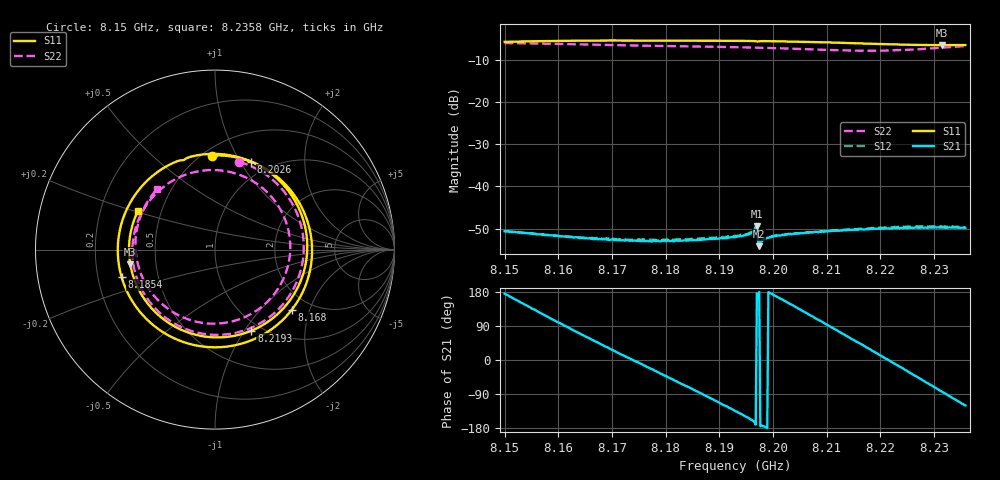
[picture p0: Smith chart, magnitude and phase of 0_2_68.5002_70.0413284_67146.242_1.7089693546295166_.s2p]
#  HZ  S  RI  R  50.00
! Rohde & Schwarz Vector Network Analyzer
! Rohde-Schwarz,ZNB20-2Port,1311601062101988,3.16
! Created: UTC 3/20/2024, 5:03:43 PM
! freq[Hz]  re:S11  im:S11  re:S21  im:S21  re:S12  im:S12  re:S22  im:S22
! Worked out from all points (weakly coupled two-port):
!   401 points, 8.15 GHz to 8.2358 GHz, reference 50 ohm
!   highest |S21| = -49.42 dB at 8.197 GHz (marker M1); lowest = -54.2 dB at 8.1974 GHz (marker M2)
!   lowest |S11| = -6.4 dB at 8.2315 GHz (marker M3), VSWR 2.84, Z = 17.7 - j3.72 ohm
!   |S11| at or under -10 dB: nowhere
!   |S22| runs from -7.7 to -5.9 dB; largest |S21 - S12| = 0.00027
!   S11 on the Smith chart (normalised r, x): 8.15 GHz: 0.56, +0.80; 8.168 GHz: 1.61, -1.53; 8.1854 GHz: 0.30, -0.13; 8.2026 GHz: 0.82, +1.11; 8.2193 GHz: 0.90, -1.08; 8.2358 GHz: 0.37, +0.21
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8.149982e9  -0.0161 0.5237  -0.00293 0.000254  -0.00293 0.000293  0.1357 0.4888
8.153631e9  0.2247 0.4802  -0.00235 0.00153  -0.00234 0.00155  0.3356 0.3756
8.157494e9  0.4277 0.3225  -0.00124 0.00234  -0.00126 0.00233  0.4664 0.1768
8.160928e9  0.5268 0.1163  -9.48e-05 0.00254  -0.000141 0.00257  0.4929 -0.0296
8.164362e9  0.5301 -0.1127  0.000968 0.00225  0.000931 0.00228  0.4337 -0.2249
8.168011e9  0.4285 -0.3343  0.0018 0.00156  0.00179 0.00161  0.292 -0.3844
8.173591e9  0.1145 -0.5322  0.00228 7.47e-05  0.00234 6.32e-05  -0.0116 -0.4747
8.178742e9  -0.2304 -0.4928  0.00186 -0.00122  0.00194 -0.00129  -0.2815 -0.3746
8.185395e9  -0.5207 -0.1522  0.000401 -0.00226  0.000401 -0.00237  -0.4581 -0.058
8.189044e9  -0.5319 0.1  -0.000658 -0.0023  -0.00071 -0.00234  -0.4353 0.1422
8.192907e9  -0.4168 0.3423  -0.00174 -0.00178  -0.00186 -0.00181  -0.3196 0.3212
8.196556e9  -0.2092 0.4928  -0.00293 -0.000821  -0.00303 -0.000708  -0.1445 0.4237
8.196985e9  -0.1785 0.4982  -0.00337 0.000241  -0.00341 0.000374  -0.1212 0.43
8.197415e9  -0.1589 0.5089  -0.00195 2.7e-05  -0.002 0.000125  -0.0977 0.4354
8.202566e9  0.1997 0.4907  -0.00238 0.00124  -0.00234 0.00134  0.1876 0.3942
8.207287e9  0.4457 0.272  -0.00123 0.00256  -0.00114 0.00263  0.3768 0.1995
8.213082e9  0.4933 -0.1286  0.0011 0.00281  0.00119 0.00281  0.3898 -0.1425
8.219306e9  0.2027 -0.4518  0.00298 0.000954  0.00311 0.000888  0.103 -0.3983
8.221667e9  0.0367 -0.4888  0.00316 -8.04e-05  0.00328 -0.000246  -0.0526 -0.4104
8.226174e9  -0.271 -0.3995  0.0025 -0.00202  0.00248 -0.00221  -0.3221 -0.2768
8.23154e9  -0.4722 -0.0808  0.000332 -0.00323  0.000135 -0.00333  -0.4418 0.067
8.235833e9  -0.4288 0.2169  -0.0016 -0.0028  -0.00186 -0.00272  -0.3213 0.3388
